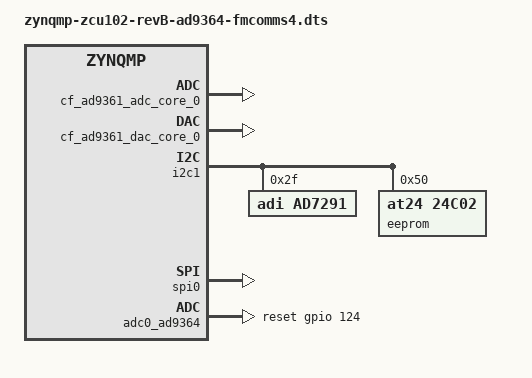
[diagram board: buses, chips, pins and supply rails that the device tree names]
/*
 * dts file for FMCOMMS4 AD9364 on Xilinx ZynqMP ZCU102 RevB
 *
 * Copyright (C) 2016 Analog Devices Inc.
 *
 * Licensed under the GPL-2.
 */

#include "zynqmp-zcu102-revB.dts"
#include <dt-bindings/interrupt-controller/irq.h>

&i2c1 {
	i2c-mux@75{
		i2c@0 {
			#address-cells = <1>;
			#size-cells = <0>;
			reg = <0>;
			/* HPC0_IIC */
			ad7291@2f {
				compatible = "adi,ad7291";
				reg = <0x2f>;
			};

			eeprom@50 {
				compatible = "at24,24c02";
				reg = <0x50>;
			};

		};
	};
};

/ {
	fpga_axi: fpga-axi@0 {
		interrupt-parent = <&gic>;
		compatible = "simple-bus";
		#address-cells = <0x1>;
		#size-cells = <0x1>;
		ranges = <0 0 0 0xffffffff>;

		rx_dma: dma@80010000 {
			compatible = "adi,axi-dmac-1.00.a";
			reg = <0x80010000 0x10000>;
			#dma-cells = <1>;
			interrupts = <0 109 IRQ_TYPE_LEVEL_HIGH>;
			clocks = <&zynqmp_clk 71>;

			adi,channels {
				#size-cells = <0>;
				#address-cells = <1>;

				dma-channel@0 {
					reg = <0>;
					adi,source-bus-width = <64>;
					adi,source-bus-type = <2>;
					adi,destination-bus-width = <64>;
					adi,destination-bus-type = <0>;
				};
			};
		};

		tx_dma: dma@80020000  {
			compatible = "adi,axi-dmac-1.00.a";
			reg = <0x80020000 0x10000>;
			#dma-cells = <1>;
			interrupts = <0 108 IRQ_TYPE_LEVEL_HIGH>;
			clocks = <&zynqmp_clk 71>;

			adi,channels {
				#size-cells = <0>;
				#address-cells = <1>;

				dma-channel@0 {
					reg = <0>;
					adi,source-bus-width = <64>;
					adi,source-bus-type = <0>;
					adi,destination-bus-width = <64>;
					adi,destination-bus-type = <2>;
				};
			};
		};

		cf_ad9361_adc_core_0: cf-ad9361-lpc@80000000 {
			compatible = "adi,axi-ad9361-6.00.a";
			reg = <0x80000000 0x6000>;
			dmas = <&rx_dma 0>;
			dma-names = "rx";
			spibus-connected = <&adc0_ad9364>;
		};

		cf_ad9361_dac_core_0: cf-ad9361-dds-core-lpc@80004000 {
			compatible = "adi,axi-ad9364-dds-6.00.a";
			reg = <0x80004000 0x1000>;
			clocks = <&adc0_ad9364 13>;
			clock-names = "sampl_clk";
			dmas = <&tx_dma 0>;
			dma-names = "tx";
		};
	};
};

&spi0 {
	status = "okay";
};

#define fmc_spi spi0

#include "adi-fmcomms4.dtsi"

&adc0_ad9364 {
	en_agc-gpios = <&gpio 122 0>;
	sync-gpios = <&gpio 123 0>;
	reset-gpios = <&gpio 124 0>;
	enable-gpios = <&gpio 125 0>;
	txnrx-gpios = <&gpio 126 0>;
};
